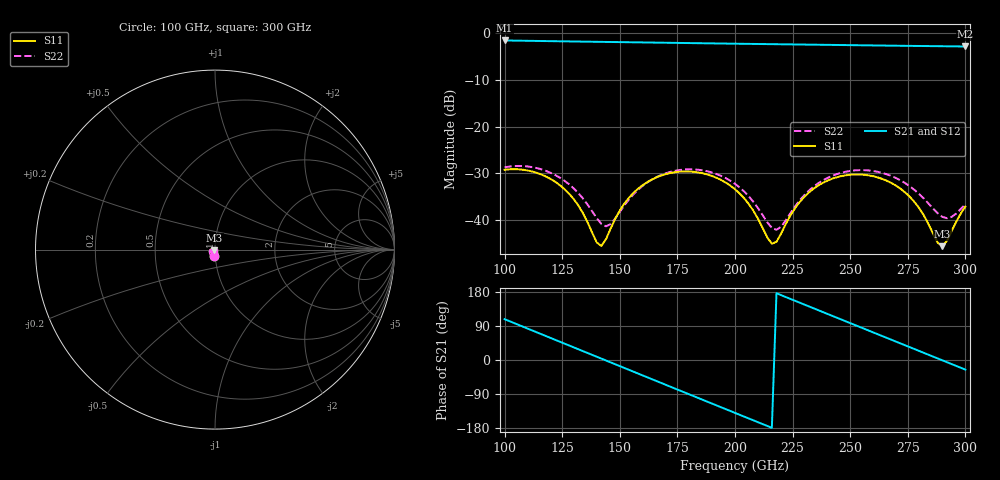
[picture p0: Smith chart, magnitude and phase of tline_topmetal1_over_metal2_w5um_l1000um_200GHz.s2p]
#  GHZ S DB R 50
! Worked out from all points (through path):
!   101 points, 100 GHz to 300 GHz, reference 50 ohm
!   highest |S21| = -1.50 dB at 100 GHz (marker M1); lowest = -2.8 dB at 300 GHz (marker M2)
!   group delay of S21, straight-line fit = 6.85 ps
!   lowest |S11| = -45.6 dB at 290 GHz (marker M3), VSWR 1.01, Z = 49.6 - j0.304 ohm
!   |S11| at or under -10 dB: start of sweep to end of sweep
!   |S22| runs from -42.1 to -28.4 dB; largest |S21 - S12| = 1.4e-13
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100  -29.23 -101.0  -1.50 107.7  -1.50 107.7  -28.71 -100.4
116  -30.26 -139.2  -1.62 68.0  -1.62 68.0  -29.15 -136.4
126  -33.39 -160.2  -1.69 43.2  -1.69 43.2  -31.60 -155.8
134  -38.52 -168.3  -1.75 23.4  -1.75 23.4  -35.40 -164.0
140  -44.85 -143.3  -1.79 8.6  -1.79 8.6  -39.62 -153.9
142  -45.57 -118.9  -1.80 3.6  -1.80 3.6  -40.85 -143.2
146  -41.88 -85.3  -1.83 -6.3  -1.83 -6.3  -40.90 -114.4
154  -35.22 -82.2  -1.88 -26.0  -1.88 -26.0  -35.59 -93.2
168  -30.47 -108.7  -1.98 -60.7  -1.98 -60.7  -30.35 -111.0
184  -29.80 -144.4  -2.09 -100.2  -2.09 -100.2  -29.23 -143.0
200  -33.42 -176.9  -2.20 -139.6  -2.20 -139.6  -32.26 -172.4
208  -38.05 175.2  -2.25 -159.3  -2.25 -159.3  -36.13 -179.1
216  -45.10 -147.8  -2.30 -179.0  -2.30 -179.0  -41.72 -154.8
220  -42.94 -110.0  -2.32 171.2  -2.32 171.2  -41.45 -123.9
226  -37.52 -98.0  -2.36 156.4  -2.36 156.4  -37.14 -104.0
234  -33.34 -107.1  -2.41 136.7  -2.41 136.7  -32.90 -107.7
252  -30.24 -142.9  -2.52 92.4  -2.52 92.4  -29.37 -138.4
268  -32.10 -175.6  -2.62 53.1  -2.62 53.1  -30.59 -167.2
278  -36.21 169.3  -2.67 28.6  -2.67 28.6  -33.60 -179.1
290  -45.62 -144.2  -2.74 -0.9  -2.74 -0.9  -39.33 -159.8
294  -42.42 -110.5  -2.76 -10.7  -2.76 -10.7  -39.36 -139.3
300  -37.14 -102.5  -2.80 -25.4  -2.80 -25.4  -36.59 -121.2
